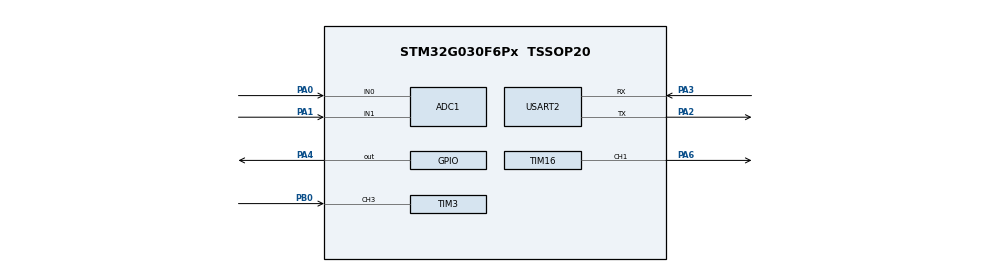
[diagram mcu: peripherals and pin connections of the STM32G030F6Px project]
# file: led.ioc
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ADC1.Channel-0\#ChannelRegularConversion=ADC_CHANNEL_0
ADC1.Channel-2\#ChannelRegularConversion=ADC_CHANNEL_1
ADC1.ContinuousConvMode=ENABLE
ADC1.DMAContinuousRequests=ENABLE
ADC1.DiscontinuousConvMode=DISABLE
ADC1.NbrOfConversion=2
ADC1.NbrOfConversionFlag=1
ADC1.Overrun=ADC_OVR_DATA_OVERWRITTEN
ADC1.Rank-0\#ChannelRegularConversion=1
ADC1.Rank-2\#ChannelRegularConversion=2
ADC1.SamplingTime-0\#ChannelRegularConversion=ADC_SAMPLINGTIME_COMMON_1
ADC1.SamplingTime-2\#ChannelRegularConversion=ADC_SAMPLINGTIME_COMMON_1
ADC1.SamplingTimeCommon1=ADC_SAMPLETIME_79CYCLES_5
ADC1.SamplingTimeCommon2=ADC_SAMPLETIME_79CYCLES_5
ADC1.SelectedChannel=ADC_CHANNEL_0|ADC_CHANNEL_1
ADC1.master=1
Dma.ADC1.0.Direction=DMA_PERIPH_TO_MEMORY
Dma.ADC1.0.EventEnable=DISABLE
Dma.ADC1.0.Instance=DMA1_Channel1
Dma.ADC1.0.MemDataAlignment=DMA_MDATAALIGN_HALFWORD
Dma.ADC1.0.MemInc=DMA_MINC_ENABLE
Dma.ADC1.0.Mode=DMA_CIRCULAR
Dma.ADC1.0.PeriphDataAlignment=DMA_PDATAALIGN_HALFWORD
Dma.ADC1.0.PeriphInc=DMA_PINC_DISABLE
Dma.ADC1.0.Polarity=HAL_DMAMUX_REQ_GEN_RISING
Dma.ADC1.0.Priority=DMA_PRIORITY_LOW
Dma.ADC1.0.RequestNumber=1
Dma.ADC1.0.SignalID=NONE
Dma.ADC1.0.SyncEnable=DISABLE
Dma.ADC1.0.SyncPolarity=HAL_DMAMUX_SYNC_NO_EVENT
Dma.ADC1.0.SyncRequestNumber=1
Dma.ADC1.0.SyncSignalID=NONE
Dma.Request0=ADC1
Mcu.Family=STM32G0
Mcu.Name=STM32G030F6Px
Mcu.Package=TSSOP20
NVIC.DMA1_Channel1_IRQn=true\:0\:0\:false\:false\:true\:false\:true
NVIC.TIM3_IRQn=true\:0\:0\:false\:false\:true\:true\:true
PA0.Mode=IN0
PA0.Signal=ADC1_IN0
PA1.Mode=IN1
PA1.Signal=ADC1_IN1
PA13.Mode=Serial_Wire
PA13.Signal=SYS_SWDIO
PA14-BOOT0.Mode=Serial_Wire
PA14-BOOT0.Signal=SYS_SWCLK
PA2.Mode=Asynchronous
PA2.Signal=USART2_TX
PA3.Mode=Asynchronous
PA3.Signal=USART2_RX
PA4.Signal=GPIO_Output
PA6.Signal=S_TIM16_CH1
PB0.GPIO_PuPd=GPIO_NOPULL
PB0.Signal=S_TIM3_CH3
ProjectManager.HeapSize=0x200
ProjectManager.StackSize=0x400
ProjectManager.TargetToolchain=MDK-ARM V5.27
RCC.ADCFreq_Value=64000000
RCC.AHBFreq_Value=64000000
RCC.CortexFreq_Value=64000000
RCC.EXTERNAL_CLOCK_VALUE=12288000
RCC.HCLKFreq_Value=64000000
RCC.HSE_VALUE=8000000
RCC.HSI_VALUE=16000000
RCC.LSE_VALUE=32768
RCC.SYSCLKFreq_VALUE=64000000
RCC.SYSCLKSource=RCC_SYSCLKSOURCE_PLLCLK
RCC.VCOOutputFreq_Value=128000000
SH.S_TIM16_CH1.0=TIM16_CH1,PWM Generation1 CH1
SH.S_TIM3_CH3.0=TIM3_CH3,Input_Capture3_from_TI3
TIM16.AutoReloadPreload=TIM_AUTORELOAD_PRELOAD_DISABLE
TIM16.Channel=TIM_CHANNEL_1
TIM16.Period=1280
TIM16.Prescaler=0
TIM16.Pulse=0
TIM3.AutoReloadPreload=TIM_AUTORELOAD_PRELOAD_ENABLE
TIM3.Channel-Input_Capture3_from_TI3=TIM_CHANNEL_3
TIM3.ICFilter_CH3=15
TIM3.ICPolarity_CH3=TIM_INPUTCHANNELPOLARITY_RISING
TIM3.Period=40000
TIM3.Prescaler=15
USART2.VirtualMode-Asynchronous=VM_ASYNC
VP_TIM16_VS_ClockSourceINT.Mode=Enable_Timer
VP_TIM3_VS_ClockSourceINT.Mode=Internal
board=custom

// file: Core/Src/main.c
/* USER CODE BEGIN Header */
/**
  ******************************************************************************
  * @file           : main.c
  * @brief          : Main program body
  ******************************************************************************
  * @attention
  *
  * <h2><center>&copy; Copyright (c) 2021 STMicroelectronics.
  * All rights reserved.</center></h2>
  *
  * This software component is licensed by ST under BSD 3-Clause license,
  * the "License"; You may not use this file except in compliance with the
  * License. You may obtain a copy of the License at:
  *                        opensource.org/licenses/BSD-3-Clause
  *
  ******************************************************************************
  */
/* USER CODE END Header */
#include "main.h"
#include "adc.h"
#include "dma.h"
#include "tim.h"
#include "usart.h"
#include "gpio.h"

/* USER CODE BEGIN Includes */
#include "string.h"
#include "pwm_pulse_capture.h"
#include "voltage_acquisition.h"

/* USER CODE END Includes */

void SystemClock_Config(void);

int main(void)
{
  /* USER CODE BEGIN 1 */
	static float temp_protect = 1.0f;
	static float hi_voltage_power_limit = 1.0f;
	static uint32_t led_brightness_tmp = 0;
	static uint32_t led_brightness_tmp_cnt = 0;
	static uint32_t led_brightness_tmp_buf[25] = {0,0,0,0,0,0,0,0,0,0,0,0,0,0,0,0,0,0,0,0,0,0,0,0,0};
	static uint32_t led_brightness_tmp_add = 0;
	static uint32_t led_brightness_tmp_average = 0;
	static uint32_t led_brightness_tmp2 = 0;
	static uint32_t led_brightness_ture = 0;
	memset(led_brightness_tmp_buf, 0, 25*sizeof(uint32_t));
  /* USER CODE END 1 */

  /* MCU Configuration--------------------------------------------------------*/

  /* Reset of all peripherals, Initializes the Flash interface and the Systick. */

  LL_APB2_GRP1_EnableClock(LL_APB2_GRP1_PERIPH_SYSCFG);
  LL_APB1_GRP1_EnableClock(LL_APB1_GRP1_PERIPH_PWR);

  /* System interrupt init*/

  /* Configure the system clock */
  SystemClock_Config();

  /* Initialize all configured peripherals */
  MX_GPIO_Init();
  MX_DMA_Init();
  MX_ADC1_Init();
  MX_TIM3_Init();
  MX_TIM16_Init();
  MX_USART2_UART_Init();
  /* USER CODE BEGIN 2 */

	//PB0 PWM输入（脉宽）捕获
  TIM3->SR=0; //清除中断标志位
	LL_TIM_CC_EnableChannel(TIM3, LL_TIM_CHANNEL_CH3);
	LL_TIM_EnableIT_CC3(TIM3);
	LL_TIM_EnableIT_UPDATE(TIM3);
	LL_TIM_SetCounter(TIM3, 0); //计数器清空
	LL_TIM_EnableCounter(TIM3);

	//2路ADC配置，并开启转换
	Adc1_Additional_Config();
	LL_ADC_REG_StartConversion(ADC1);

	//开启PA6的PWM输出
	LL_TIM_OC_SetCompareCH1(TIM16, 0);
	LL_TIM_CC_EnableChannel(TIM16, LL_TIM_CHANNEL_CH1);
	LL_TIM_EnableAllOutputs(TIM16);
	LL_TIM_EnableCounter(TIM16);

	//等待电压有效
VoltageProtect:
	while(0 == Is_Voltage_Valid()) { };

	//UVLO 设置为高电平
	LL_GPIO_SetOutputPin(GPIOA, LL_GPIO_PIN_4);

  /* USER CODE END 2 */

  /* Infinite loop */
  while (1)
  {

    /* USER CODE BEGIN 3 */

		//调试时使用
		//printf("aaa : %d   ", Get_Pulse_Width());
		//printf("bbb : %d  %d  %d\r\n", Get_Input_Mode(), led_brightness_tmp, led_brightness_ture);
		//printf("ccc : %d  %d\r\n", Get_Adc1_Data(0), Get_Adc1_Data(1));

		#if 1
		//采集电压
		if(Voltage_Protect_Update())
		{
			LL_TIM_OC_SetCompareCH1(TIM16, 0);
			LL_GPIO_ResetOutputPin(GPIOA, LL_GPIO_PIN_4);

			Reset_Input_Mode();
			memset(led_brightness_tmp_buf, 0, 25*sizeof(uint32_t));
			led_brightness_tmp_add = 0;
			led_brightness_ture = 0;
			goto VoltageProtect;
		}
		#endif

		#if 1
		//高电压功率限制
		hi_voltage_power_limit = High_Voltage_Protect();
		#endif

		#if 1
		//采集温度
		switch( Temp_Protect_Update() )
		{
			case 0:
			{
				temp_protect = 1.0f;
				break;
			}
			case 1:
			{
				temp_protect = 0.5f;
				break;
			}
			case 2:
			{
				temp_protect = 0.0f;
				Reset_Input_Mode();
				break;
			}
		}
		#endif

		//调光
		switch( Get_Input_Mode() )
		{
			//脉宽调光
			case 1:
			{
				if(Is_Pulse_Width_Update())
				{

					//亮度更新
					if( (Get_Pulse_Width() > 1000) && (Get_Pulse_Width() < 2000) )
					{
						if(Get_Pulse_Width() < 1135)
						{
							led_brightness_tmp = 0;
						}
						else if(Get_Pulse_Width() > 1890)
						{
							led_brightness_tmp = 1280;
						}
						else
						{
							led_brightness_tmp = (Get_Pulse_Width() - 1135) * 1280 / 755;
						}
					}

					//计算25个缓存亮度的平均值（降低杂波影响）
					led_brightness_tmp_add -= led_brightness_tmp_buf[led_brightness_tmp_cnt];
					led_brightness_tmp_buf[led_brightness_tmp_cnt] = led_brightness_tmp;
					led_brightness_tmp_add += led_brightness_tmp;

					led_brightness_tmp_average = led_brightness_tmp_add / 25;
					led_brightness_tmp_cnt++;
					if(led_brightness_tmp_cnt > 24)
					{
						led_brightness_tmp_cnt = 0;
					}

					led_brightness_tmp2 = led_brightness_tmp_average * temp_protect * hi_voltage_power_limit * 0.7;

					//缓慢亮暗（平滑亮度曲线，降低杂波影响）
					if(led_brightness_tmp2 < led_brightness_ture)
					{
						if( (led_brightness_ture - led_brightness_tmp2) > 5)
						{
							led_brightness_ture -= (led_brightness_ture - led_brightness_tmp2)*0.075;
						}

						led_brightness_ture--;
					}
					else if(led_brightness_tmp2 > led_brightness_ture)
					{
						if( (led_brightness_tmp2 - led_brightness_ture) > 5)
						{
							led_brightness_ture += (led_brightness_tmp2 - led_brightness_ture)*0.05;
						}
						led_brightness_ture++;
					}

					//改变占空比
					Reset_Pulse_Width_Update();
					LL_TIM_OC_SetCompareCH1(TIM16, led_brightness_ture );

					//调试时使用
					//printf("aaa : %d   ", Get_Pulse_Width());
					//{ printf("xxx   "); for(uint8_t i=0; i<25; i++) { printf("%d ", led_brightness_tmp_buf[i]); } printf("\r\n"); }
					//printf("yyy :    %d   \r\n", led_brightness_tmp_average);

				}
				break;
			}

			//0 1信号调光（开关模式）
			case 2:
			{
				led_brightness_tmp = Get_Led_Brightness_Switch() * 20 * temp_protect * hi_voltage_power_limit;

				if(led_brightness_tmp < led_brightness_ture)
				{
					led_brightness_ture--;
				}
				else if(led_brightness_tmp > led_brightness_ture)
				{
					led_brightness_ture++;
				}

				memset(led_brightness_tmp_buf, 0, 25*sizeof(uint32_t));
				led_brightness_tmp_add = 0;

				LL_TIM_OC_SetCompareCH1(TIM16, led_brightness_ture);
				break;
			}

			//错误信号
			default:
			{
				memset(led_brightness_tmp_buf, 0, 25*sizeof(uint32_t));
				led_brightness_tmp_add = 0;

				led_brightness_ture = 0;
				LL_TIM_OC_SetCompareCH1(TIM16, 0);
				break;
			}
		}

		//延时
		//for(int i=0; i<1000000; i++){ };

  }
  /* USER CODE END 3 */
}

void SystemClock_Config(void)
{
  LL_FLASH_SetLatency(LL_FLASH_LATENCY_2);
  while(LL_FLASH_GetLatency() != LL_FLASH_LATENCY_2)
  {
  }

  /* HSI configuration and activation */
  LL_RCC_HSI_Enable();
  while(LL_RCC_HSI_IsReady() != 1)
  {
  }

  /* Main PLL configuration and activation */
  LL_RCC_PLL_ConfigDomain_SYS(LL_RCC_PLLSOURCE_HSI, LL_RCC_PLLM_DIV_1, 8, LL_RCC_PLLR_DIV_2);
  LL_RCC_PLL_Enable();
  LL_RCC_PLL_EnableDomain_SYS();
  while(LL_RCC_PLL_IsReady() != 1)
  {
  }

  /* Set AHB prescaler*/
  LL_RCC_SetAHBPrescaler(LL_RCC_SYSCLK_DIV_1);

  /* Sysclk activation on the main PLL */
  LL_RCC_SetSysClkSource(LL_RCC_SYS_CLKSOURCE_PLL);
  while(LL_RCC_GetSysClkSource() != LL_RCC_SYS_CLKSOURCE_STATUS_PLL)
  {
  }

  /* Set APB1 prescaler*/
  LL_RCC_SetAPB1Prescaler(LL_RCC_APB1_DIV_1);

  LL_Init1msTick(64000000);

  /* Update CMSIS variable (which can be updated also through SystemCoreClockUpdate function) */
  LL_SetSystemCoreClock(64000000);
  LL_RCC_SetADCClockSource(LL_RCC_ADC_CLKSOURCE_SYSCLK);
}

void Error_Handler(void)
{
  __disable_irq();
  while (1)
  {
  }
}

/************************ (C) COPYRIGHT STMicroelectronics *****END OF FILE****/
